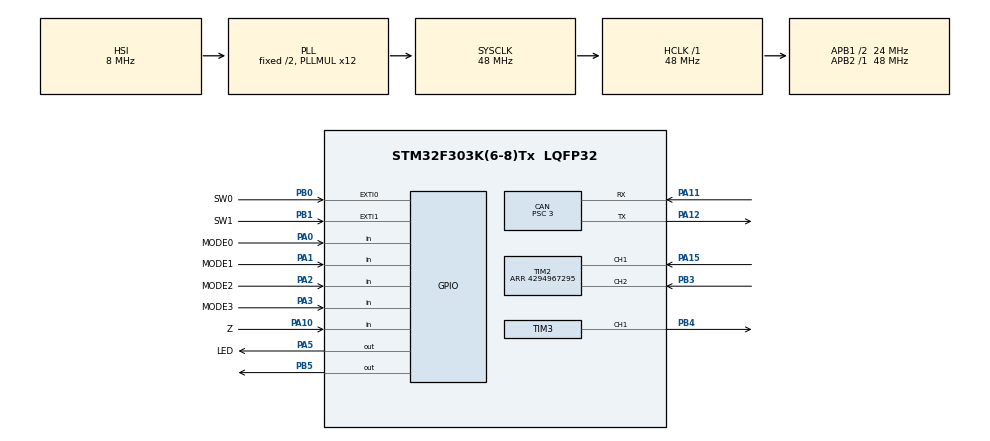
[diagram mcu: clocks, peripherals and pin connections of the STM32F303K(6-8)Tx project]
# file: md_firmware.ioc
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CAN.BS1=CAN_BS1_6TQ
CAN.BS2=CAN_BS2_1TQ
CAN.CalculateBaudRate=1000000
CAN.CalculateTimeBit=1000
CAN.CalculateTimeQuantum=125.0
CAN.Prescaler=3
Mcu.Family=STM32F3
Mcu.Name=STM32F303K(6-8)Tx
Mcu.Package=LQFP32
NVIC.CAN_RX0_IRQn=true\:0\:0\:false\:false\:true\:true\:true\:true
NVIC.EXTI0_IRQn=true\:0\:0\:false\:false\:true\:true\:true\:true
NVIC.EXTI1_IRQn=true\:0\:0\:false\:false\:true\:true\:true\:true
NVIC.PriorityGroup=NVIC_PRIORITYGROUP_4
NVIC.TIM1_UP_TIM16_IRQn=true\:0\:0\:false\:false\:true\:true\:true\:true
NVIC.TIM2_IRQn=true\:0\:0\:false\:false\:true\:true\:true\:true
PA0.GPIO_Label=MODE0
PA0.Signal=GPIO_Input
PA1.GPIO_Label=MODE1
PA1.Signal=GPIO_Input
PA10.GPIO_Label=Z
PA10.Signal=GPIO_Input
PA11.Mode=CAN_Activate
PA11.Signal=CAN_RX
PA12.Mode=CAN_Activate
PA12.Signal=CAN_TX
PA13.Mode=Serial_Wire
PA13.Signal=SYS_JTMS-SWDIO
PA14.Mode=Serial_Wire
PA14.Signal=SYS_JTCK-SWCLK
PA15.Signal=S_TIM2_CH1_ETR
PA2.GPIO_Label=MODE2
PA2.Signal=GPIO_Input
PA3.GPIO_Label=MODE3
PA3.Signal=GPIO_Input
PA5.GPIO_Label=LED
PA5.Signal=GPIO_Output
PB0.GPIO_Label=SW0
PB0.GPIO_ModeDefaultEXTI=GPIO_MODE_IT_RISING
PB0.Signal=GPXTI0
PB1.GPIO_Label=SW1
PB1.GPIO_ModeDefaultEXTI=GPIO_MODE_IT_RISING
PB1.Signal=GPXTI1
PB3.Signal=S_TIM2_CH2
PB4.Signal=S_TIM3_CH1
PB5.Signal=GPIO_Output
ProjectManager.HeapSize=0x200
ProjectManager.StackSize=0x400
ProjectManager.TargetToolchain=CMake
RCC.AHBFreq_Value=48000000
RCC.APB1CLKDivider=RCC_HCLK_DIV2
RCC.APB1Freq_Value=24000000
RCC.APB1TimFreq_Value=48000000
RCC.APB2Freq_Value=48000000
RCC.APB2TimFreq_Value=48000000
RCC.CortexFreq_Value=48000000
RCC.HCLKFreq_Value=48000000
RCC.HSE_VALUE=8000000
RCC.HSI_VALUE=8000000
RCC.PLLMUL=RCC_PLL_MUL12
RCC.SYSCLKFreq_VALUE=48000000
RCC.SYSCLKSourceVirtual=RCC_SYSCLKSOURCE_PLLCLK
SH.S_TIM2_CH1_ETR.0=TIM2_CH1,Encoder_Interface
SH.S_TIM2_CH2.0=TIM2_CH2,Encoder_Interface
SH.S_TIM3_CH1.0=TIM3_CH1,PWM Generation1 CH1
TIM16.Period=999
TIM16.Prescaler=239
TIM2.EncoderMode=TIM_ENCODERMODE_TI12
TIM2.Period=4294967295
TIM3.Channel-PWM\ Generation1\ CH1=TIM_CHANNEL_1
TIM3.Period=999
TIM3.Prescaler=1
VP_TIM16_VS_ClockSourceINT.Mode=Enable_Timer
board=custom

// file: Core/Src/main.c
/* USER CODE BEGIN Header */
/**
  ******************************************************************************
  * @file           : main.c
  * @brief          : Main program body
  ******************************************************************************
  * @attention
  *
  * Copyright (c) 2024 STMicroelectronics.
  * All rights reserved.
  *
  * This software is licensed under terms that can be found in the LICENSE file
  * in the root directory of this software component.
  * If no LICENSE file comes with this software, it is provided AS-IS.
  *
  ******************************************************************************
  */
/* USER CODE END Header */
#include "main.h"

/* USER CODE BEGIN Includes */
#include <stdbool.h>
#include <stdlib.h>
/* USER CODE END Includes */

/* USER CODE BEGIN PTD */
typedef enum {
  INIT, STATUS, PWM, SPEED, ANGLE, LIM_SW
} Mode;
typedef struct {
	uint32_t cnt;
	int16_t overflow;
	int64_t fusion_cnt;		//cnt + overflow * 2
} Encoder;
typedef struct {
	bool port;
	bool state;
  int after_power;
} LimitSwitch;
typedef struct {
  int16_t target_rpm;
  int16_t speeed;
  int16_t pre_speed;
  int32_t p;
  int32_t i;
  int32_t d;
  int32_t filterd_d;
  int32_t pre_filterd_d;
  int16_t error;
} PidController ;
/* USER CODE END PTD */

/* USER CODE BEGIN PD */
#define CPR 8192		//Count Per Rotation
#define GEAR_RATIO 54
#define ENCODER_DIRECTION -1

#define SPEED_RATE 200  //control rate [Hz]
#define CAN_SIZE 8		//CAN send data size[Byte]
#define RETURN_SIZE 8	//CAN return data size[Byte]
#define ENCODER_COUNTERPERIOD 4294967295

/* USER CODE END PD */

CAN_HandleTypeDef hcan;

TIM_HandleTypeDef htim2;
TIM_HandleTypeDef htim3;
TIM_HandleTypeDef htim16;

/* USER CODE BEGIN PV */
Mode mode = INIT;
Encoder pre_encoder = {0};
Encoder encoder = {0};
PidController pid = {0};
LimitSwitch lim_sw = {0};

int16_t delta_rpm = 0;
int16_t delta_cnt = 0;

uint32_t id_own = 0u;

// livewatch
int16_t power = 0;

// PID Gain
int16_t Kp = 6;
int16_t Ki = 200;
float Kd = 0;

// Low-Pass Filter constant
float LPF_a = 0.1;
/* USER CODE END PV */

void SystemClock_Config(void);
static void MX_GPIO_Init(void);
static void MX_CAN_Init(void);
static void MX_TIM2_Init(void);
static void MX_TIM3_Init(void);
static void MX_TIM16_Init(void);
/* USER CODE BEGIN PFP */
void stopAll(void);
void simplePWM(int16_t power_);
void rotateSpeed(int16_t target_rpm);
void returnStatus(uint8_t master_id_);

void HAL_TIM_PeriodElapsedCallback(TIM_HandleTypeDef* htim_);
void HAL_GPIO_EXTI_Callback(uint16_t gpio_pin_);
void HAL_CAN_RxFifo0MsgPendingCallback(CAN_HandleTypeDef *hcan_);
/* USER CODE END PFP */

int main(void)
{

  /* MCU Configuration--------------------------------------------------------*/

  /* Reset of all peripherals, Initializes the Flash interface and the Systick. */
  HAL_Init();

  /* Configure the system clock */
  SystemClock_Config();

  /* Initialize all configured peripherals */
  MX_GPIO_Init();
  MX_CAN_Init();
  MX_TIM2_Init();
  MX_TIM3_Init();
  MX_TIM16_Init();
  /* USER CODE BEGIN 2 */
  HAL_TIM_Encoder_Start(&htim2, TIM_CHANNEL_ALL);
  HAL_TIM_Base_Start_IT(&htim2);
  HAL_CAN_Start(&hcan);
  HAL_CAN_ActivateNotification(&hcan, CAN_IT_RX_FIFO0_MSG_PENDING);
  HAL_TIM_PWM_Start(&htim3, TIM_CHANNEL_1);
  HAL_NVIC_DisableIRQ(EXTI0_IRQn);
  HAL_NVIC_DisableIRQ(EXTI1_IRQn);

  __HAL_TIM_SET_COMPARE(&htim3, TIM_CHANNEL_1, 0);
  HAL_GPIO_WritePin(GPIOA, GPIO_PIN_5, GPIO_PIN_SET);

  HAL_TIM_Base_Start_IT(&htim16);
  /* USER CODE END 2 */

  /* Infinite loop */
  while (1)
  {

  }
}

void SystemClock_Config(void)
{
  RCC_OscInitTypeDef RCC_OscInitStruct = {0};
  RCC_ClkInitTypeDef RCC_ClkInitStruct = {0};

  /** Initializes the RCC Oscillators according to the specified parameters
  * in the RCC_OscInitTypeDef structure.
  */
  RCC_OscInitStruct.OscillatorType = RCC_OSCILLATORTYPE_HSI;
  RCC_OscInitStruct.HSIState = RCC_HSI_ON;
  RCC_OscInitStruct.HSICalibrationValue = RCC_HSICALIBRATION_DEFAULT;
  RCC_OscInitStruct.PLL.PLLState = RCC_PLL_ON;
  RCC_OscInitStruct.PLL.PLLSource = RCC_PLLSOURCE_HSI;
  RCC_OscInitStruct.PLL.PLLMUL = RCC_PLL_MUL12;
  if (HAL_RCC_OscConfig(&RCC_OscInitStruct) != HAL_OK)
  {
    Error_Handler();
  }

  /** Initializes the CPU, AHB and APB buses clocks
  */
  RCC_ClkInitStruct.ClockType = RCC_CLOCKTYPE_HCLK|RCC_CLOCKTYPE_SYSCLK
                              |RCC_CLOCKTYPE_PCLK1|RCC_CLOCKTYPE_PCLK2;
  RCC_ClkInitStruct.SYSCLKSource = RCC_SYSCLKSOURCE_PLLCLK;
  RCC_ClkInitStruct.AHBCLKDivider = RCC_SYSCLK_DIV1;
  RCC_ClkInitStruct.APB1CLKDivider = RCC_HCLK_DIV2;
  RCC_ClkInitStruct.APB2CLKDivider = RCC_HCLK_DIV1;

  if (HAL_RCC_ClockConfig(&RCC_ClkInitStruct, FLASH_LATENCY_1) != HAL_OK)
  {
    Error_Handler();
  }
}

static void MX_CAN_Init(void)
{

  /* USER CODE BEGIN CAN_Init 0 */
  CAN_FilterTypeDef filter;
  uint32_t id_sw;
  uint32_t id_all = 0xf0 << 21;
  /* USER CODE END CAN_Init 0 */

  hcan.Instance = CAN;
  hcan.Init.Prescaler = 3;
  hcan.Init.Mode = CAN_MODE_NORMAL;
  hcan.Init.SyncJumpWidth = CAN_SJW_1TQ;
  hcan.Init.TimeSeg1 = CAN_BS1_6TQ;
  hcan.Init.TimeSeg2 = CAN_BS2_1TQ;
  hcan.Init.TimeTriggeredMode = DISABLE;
  hcan.Init.AutoBusOff = DISABLE;
  hcan.Init.AutoWakeUp = DISABLE;
  hcan.Init.AutoRetransmission = DISABLE;
  hcan.Init.ReceiveFifoLocked = DISABLE;
  hcan.Init.TransmitFifoPriority = DISABLE;
  if (HAL_CAN_Init(&hcan) != HAL_OK)
  {
    Error_Handler();
  }
  /* USER CODE BEGIN CAN_Init 2 */
  id_sw += (uint32_t)(!HAL_GPIO_ReadPin(MODE3_GPIO_Port, MODE3_Pin)) << 3;
  id_sw += (uint32_t)(!HAL_GPIO_ReadPin(MODE2_GPIO_Port, MODE2_Pin)) << 2;
  id_sw += (uint32_t)(!HAL_GPIO_ReadPin(MODE1_GPIO_Port, MODE1_Pin)) << 1;
  id_sw += (uint32_t)(!HAL_GPIO_ReadPin(MODE0_GPIO_Port, MODE0_Pin));

  id_own = id_sw << 21;
  filter.FilterIdHigh = 0;
  filter.FilterIdLow = 0;
  filter.FilterMaskIdHigh = 0;
  filter.FilterMaskIdLow = 0;
  filter.FilterScale = CAN_FILTERSCALE_32BIT;
  filter.FilterFIFOAssignment = CAN_FILTER_FIFO0;
  filter.FilterBank = 0;
  filter.FilterMode = CAN_FILTERMODE_IDMASK;
  filter.SlaveStartFilterBank = 14;
  filter.FilterActivation = ENABLE;
  HAL_CAN_ConfigFilter(&hcan, &filter);
  /* USER CODE END CAN_Init 2 */

}

static void MX_TIM2_Init(void)
{

  TIM_Encoder_InitTypeDef sConfig = {0};
  TIM_MasterConfigTypeDef sMasterConfig = {0};

  htim2.Instance = TIM2;
  htim2.Init.Prescaler = 0;
  htim2.Init.CounterMode = TIM_COUNTERMODE_UP;
  htim2.Init.Period = 4294967295;
  htim2.Init.ClockDivision = TIM_CLOCKDIVISION_DIV1;
  htim2.Init.AutoReloadPreload = TIM_AUTORELOAD_PRELOAD_DISABLE;
  sConfig.EncoderMode = TIM_ENCODERMODE_TI12;
  sConfig.IC1Polarity = TIM_ICPOLARITY_RISING;
  sConfig.IC1Selection = TIM_ICSELECTION_DIRECTTI;
  sConfig.IC1Prescaler = TIM_ICPSC_DIV1;
  sConfig.IC1Filter = 0;
  sConfig.IC2Polarity = TIM_ICPOLARITY_RISING;
  sConfig.IC2Selection = TIM_ICSELECTION_DIRECTTI;
  sConfig.IC2Prescaler = TIM_ICPSC_DIV1;
  sConfig.IC2Filter = 0;
  if (HAL_TIM_Encoder_Init(&htim2, &sConfig) != HAL_OK)
  {
    Error_Handler();
  }
  sMasterConfig.MasterOutputTrigger = TIM_TRGO_RESET;
  sMasterConfig.MasterSlaveMode = TIM_MASTERSLAVEMODE_DISABLE;
  if (HAL_TIMEx_MasterConfigSynchronization(&htim2, &sMasterConfig) != HAL_OK)
  {
    Error_Handler();
  }

}

static void MX_TIM3_Init(void)
{

  TIM_MasterConfigTypeDef sMasterConfig = {0};
  TIM_OC_InitTypeDef sConfigOC = {0};

  htim3.Instance = TIM3;
  htim3.Init.Prescaler = 1;
  htim3.Init.CounterMode = TIM_COUNTERMODE_UP;
  htim3.Init.Period = 999;
  htim3.Init.ClockDivision = TIM_CLOCKDIVISION_DIV1;
  htim3.Init.AutoReloadPreload = TIM_AUTORELOAD_PRELOAD_DISABLE;
  if (HAL_TIM_PWM_Init(&htim3) != HAL_OK)
  {
    Error_Handler();
  }
  sMasterConfig.MasterOutputTrigger = TIM_TRGO_RESET;
  sMasterConfig.MasterSlaveMode = TIM_MASTERSLAVEMODE_DISABLE;
  if (HAL_TIMEx_MasterConfigSynchronization(&htim3, &sMasterConfig) != HAL_OK)
  {
    Error_Handler();
  }
  sConfigOC.OCMode = TIM_OCMODE_PWM1;
  sConfigOC.Pulse = 0;
  sConfigOC.OCPolarity = TIM_OCPOLARITY_HIGH;
  sConfigOC.OCFastMode = TIM_OCFAST_DISABLE;
  if (HAL_TIM_PWM_ConfigChannel(&htim3, &sConfigOC, TIM_CHANNEL_1) != HAL_OK)
  {
    Error_Handler();
  }
  HAL_TIM_MspPostInit(&htim3);

}

static void MX_TIM16_Init(void)
{

  htim16.Instance = TIM16;
  htim16.Init.Prescaler = 239;
  htim16.Init.CounterMode = TIM_COUNTERMODE_UP;
  htim16.Init.Period = 999;
  htim16.Init.ClockDivision = TIM_CLOCKDIVISION_DIV1;
  htim16.Init.RepetitionCounter = 0;
  htim16.Init.AutoReloadPreload = TIM_AUTORELOAD_PRELOAD_DISABLE;
  if (HAL_TIM_Base_Init(&htim16) != HAL_OK)
  {
    Error_Handler();
  }

}

static void MX_GPIO_Init(void)
{
  GPIO_InitTypeDef GPIO_InitStruct = {0};

  /* GPIO Ports Clock Enable */
  __HAL_RCC_GPIOA_CLK_ENABLE();
  __HAL_RCC_GPIOB_CLK_ENABLE();

  /*Configure GPIO pin Output Level */
  HAL_GPIO_WritePin(LED_GPIO_Port, LED_Pin, GPIO_PIN_RESET);

  /*Configure GPIO pin Output Level */
  HAL_GPIO_WritePin(GPIOB, GPIO_PIN_5, GPIO_PIN_RESET);

  /*Configure GPIO pins : MODE0_Pin MODE1_Pin MODE2_Pin MODE3_Pin
                           Z_Pin */
  GPIO_InitStruct.Pin = MODE0_Pin|MODE1_Pin|MODE2_Pin|MODE3_Pin
                          |Z_Pin;
  GPIO_InitStruct.Mode = GPIO_MODE_INPUT;
  GPIO_InitStruct.Pull = GPIO_NOPULL;
  HAL_GPIO_Init(GPIOA, &GPIO_InitStruct);

  /*Configure GPIO pin : LED_Pin */
  GPIO_InitStruct.Pin = LED_Pin;
  GPIO_InitStruct.Mode = GPIO_MODE_OUTPUT_PP;
  GPIO_InitStruct.Pull = GPIO_NOPULL;
  GPIO_InitStruct.Speed = GPIO_SPEED_FREQ_LOW;
  HAL_GPIO_Init(LED_GPIO_Port, &GPIO_InitStruct);

  /*Configure GPIO pins : SW0_Pin SW1_Pin */
  GPIO_InitStruct.Pin = SW0_Pin|SW1_Pin;
  GPIO_InitStruct.Mode = GPIO_MODE_IT_RISING;
  GPIO_InitStruct.Pull = GPIO_NOPULL;
  HAL_GPIO_Init(GPIOB, &GPIO_InitStruct);

  /*Configure GPIO pin : PB5 */
  GPIO_InitStruct.Pin = GPIO_PIN_5;
  GPIO_InitStruct.Mode = GPIO_MODE_OUTPUT_PP;
  GPIO_InitStruct.Pull = GPIO_NOPULL;
  GPIO_InitStruct.Speed = GPIO_SPEED_FREQ_LOW;
  HAL_GPIO_Init(GPIOB, &GPIO_InitStruct);

  /* EXTI interrupt init*/
  HAL_NVIC_SetPriority(EXTI0_IRQn, 0, 0);
  HAL_NVIC_EnableIRQ(EXTI0_IRQn);

  HAL_NVIC_SetPriority(EXTI1_IRQn, 0, 0);
  HAL_NVIC_EnableIRQ(EXTI1_IRQn);

}

/* USER CODE BEGIN 4 */
void stopAll(void){
  mode = INIT;
	__HAL_TIM_SET_COMPARE(&htim3, TIM_CHANNEL_1, 0);
}
void simplePWM(int16_t power_){
  bool phase = power_ > 0 ? false : true;
	HAL_GPIO_WritePin(GPIOB, GPIO_PIN_5, (GPIO_PinState)phase);
	__HAL_TIM_SET_COMPARE(&htim3, TIM_CHANNEL_1, (abs(power_) < 1000) ? abs(power_) : 999);
}

int16_t now_rpm() {
  pre_encoder = encoder;
  encoder.cnt = __HAL_TIM_GET_COUNTER(&htim2);
  encoder.fusion_cnt = encoder.cnt + encoder.overflow * ENCODER_COUNTERPERIOD;

  delta_cnt = encoder.fusion_cnt - pre_encoder.fusion_cnt;
  delta_rpm = (delta_cnt * 60 * SPEED_RATE) / (CPR * GEAR_RATIO);
  return delta_rpm;
}
void rotateSpeed(int16_t target_rpm) {
  delta_rpm = now_rpm();

  if(pid.i > 999) {
    pid.i = 999;
  } else if(pid.i < -999) {
    pid.i = -999;
  }

  pid.pre_filterd_d = pid.filterd_d;

  pid.error = target_rpm - delta_rpm;

  pid.p = Kp * pid.error;

  pid.i += (int)(Ki * pid.error) / SPEED_RATE;

  pid.d = Kd * (pid.pre_speed - pid.speeed) * SPEED_RATE;
  pid.filterd_d = LPF_a * pid.d + (1 - LPF_a) * pid.pre_filterd_d;

  power = pid.p + pid.i + pid.d;

  power = power * ENCODER_DIRECTION;
  simplePWM(power);
}

void returnStatus(uint8_t master_id_){
	CAN_TxHeaderTypeDef tx_header;
	uint32_t tx_mailbox;
	uint8_t tx_datas[RETURN_SIZE];

	int64_t angle = encoder.fusion_cnt % CPR;	//calculate encoder angle
  int16_t rpm = (encoder.fusion_cnt - pre_encoder.fusion_cnt) * 60 / CPR * SPEED_RATE;

	while(HAL_CAN_GetTxMailboxesFreeLevel(&hcan) <= 0);

	tx_header.StdId = master_id_;
	tx_header.RTR = CAN_RTR_DATA;
	tx_header.IDE = CAN_ID_STD;
	tx_header.DLC = RETURN_SIZE;
	tx_header.TransmitGlobalTime = DISABLE;
	tx_datas[0] = (uint8_t)((angle >> 8) & 0xff);
	tx_datas[1] = (uint8_t)(angle & 0xff);
	tx_datas[2] = (uint8_t)((rpm >> 8) & 0xff);
	tx_datas[3] = (uint8_t)(rpm & 0xff);
	tx_datas[4] = (uint8_t)(!HAL_GPIO_ReadPin(SW0_GPIO_Port, SW0_Pin));
	tx_datas[5] = (uint8_t)(!HAL_GPIO_ReadPin(SW1_GPIO_Port, SW1_Pin));
	tx_datas[6] = (uint8_t)((id_own >> 21) & 0xff);
	tx_datas[7] = 0;
	// HAL_CAN_AddTxMessage(&hcan, &tx_header, tx_datas, &tx_mailbox);
}

void HAL_TIM_PeriodElapsedCallback(TIM_HandleTypeDef *htim) {
    if (htim->Instance == TIM2) {
      __HAL_TIM_CLEAR_FLAG(&htim2, TIM_IT_UPDATE);
      if(__HAL_TIM_IS_TIM_COUNTING_DOWN(&htim2)){
			  encoder.overflow--;
		  }else{
			  encoder.overflow++;
		  }
    } else if (htim->Instance == TIM16) {
      __HAL_TIM_CLEAR_FLAG(&htim16, TIM_IT_UPDATE);
      switch(mode) {
        case INIT:
          HAL_GPIO_TogglePin(LED_GPIO_Port, LED_Pin);
          break;
        case SPEED:
          rotateSpeed(pid.target_rpm);
          break;
      }
      // returnStatus(0x60);
    }
}
void HAL_GPIO_EXTI_Callback(uint16_t gpio_pin_){
  if(mode != LIM_SW) return;
	if(gpio_pin_ == SW0_Pin && !lim_sw.port){
		simplePWM(lim_sw.after_power);
    HAL_NVIC_DisableIRQ(EXTI0_IRQn);
	}else if(gpio_pin_ == SW1_Pin && lim_sw.port){
		simplePWM(lim_sw.after_power);
    HAL_NVIC_DisableIRQ(EXTI0_IRQn);
	}
}
void HAL_CAN_RxFifo0MsgPendingCallback(CAN_HandleTypeDef *hcan_){
	CAN_RxHeaderTypeDef rx_header;
	uint32_t receive_id = 0u;
	uint8_t rx_data[CAN_SIZE] = { 0u };
	if (HAL_CAN_GetRxMessage(hcan_, CAN_RX_FIFO0, &rx_header, rx_data) == HAL_OK){
		receive_id = (rx_header.IDE == CAN_ID_STD)? rx_header.StdId : rx_header.ExtId;
		mode == INIT;

		int master_id = rx_data[0];
		int semi_id = rx_data[1];

		if(receive_id == 0xf0){
			stopAll();
		} else if(receive_id == id_own >> 21){
			switch(rx_data[2]){
        case INIT:
          break;
        case STATUS:
          break;
				case PWM:
          mode = PWM;
					HAL_GPIO_WritePin(GPIOA, GPIO_PIN_5, GPIO_PIN_SET);
					simplePWM((int16_t)(rx_data[4]<<8 | rx_data[5]));
					break;
				case SPEED:
					HAL_GPIO_WritePin(GPIOA, GPIO_PIN_5, GPIO_PIN_SET);
          int16_t target_rpm = (int16_t)(rx_data[4]<<8 | rx_data[5]);
          mode = SPEED;
          if(target_rpm == 0){
            pid.target_rpm = 0;
            pid.error = 0;
            pid.i = 0;
            pid.p = 0;
            pid.d = 0;
          }else {
            pid.target_rpm = target_rpm;
          }
					break;
				case LIM_SW:
					HAL_GPIO_WritePin(GPIOA, GPIO_PIN_5, GPIO_PIN_SET);
          lim_sw.port = (bool)rx_data[3];
          lim_sw.after_power = (int16_t)(rx_data[6]<<8 | rx_data[7]);
          if(lim_sw.port == 0) {
            if (HAL_GPIO_ReadPin(SW0_GPIO_Port, SW0_Pin)) {
              break;
            }
            HAL_NVIC_EnableIRQ(EXTI0_IRQn);
          } else {
            if (HAL_GPIO_ReadPin(SW1_GPIO_Port, SW1_Pin)){
              break;
            }
            HAL_NVIC_EnableIRQ(EXTI1_IRQn);
          }
          mode = LIM_SW;
          simplePWM((int16_t)(rx_data[4]<<8 | rx_data[5]));
          break;
				default:
					stopAll();
					break;
			}
		}
	}
}
/* USER CODE END 4 */

void Error_Handler(void)
{
  __disable_irq();
  while (1)
  {
  }
}
